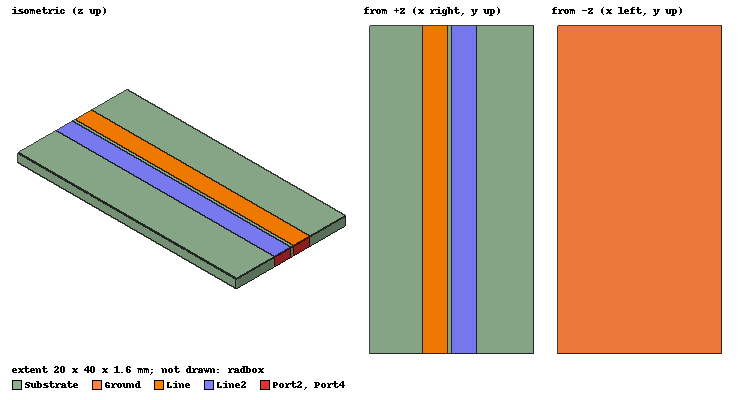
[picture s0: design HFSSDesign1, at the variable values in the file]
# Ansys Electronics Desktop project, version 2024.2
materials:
  vacuum: permittivity=1
  FR4_epoxy: permittivity=4.4 dielectric_loss_tangent=0.02
  air: permittivity=1.0006 permeability=1.0000004

design HFSSDesign1 (HFSS, HFSS Terminal Network, model units mm)
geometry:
  Ground = rectangle(corner=(0mm, 0mm, 0mm), x_size=20mm, y_size=40mm)
  Substrate [FR4_epoxy] = box(corner=(0mm, 0mm, 0mm), size=(20mm, 40mm, 1.6mm))
  Line = rectangle(corner=((10-3.5) mm, 0mm, 1.6mm), x_size=3mm, y_size=40mm)
  Port1 = rectangle(corner=(6.5mm, 0mm, 1.6mm), z_size=-1.6mm, x_size=3mm)
  Port2 = rectangle(corner=(9.5mm, 40mm, 1.6mm), z_size=-1.6mm, x_size=-3mm)
  radbox [air] = box(corner=(-10mm, -10mm, -20mm), size=(40mm, 60mm, 40mm))
  Line2 = rectangle(corner=(10mm, 0mm, 1.6mm), x_size=3mm, y_size=40mm)
  Port3 = rectangle(corner=(10mm, 0mm, 1.6mm), z_size=-1.6mm, x_size=3mm)
  Port4 = rectangle(corner=(13mm, 40mm, 1.6mm), z_size=-1.6mm, x_size=-3mm)
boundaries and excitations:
  PerfE1: Perfect E Objects=[Ground, Line]
  Rad1: Radiation Objects=radbox
  1: Lumped Port Objects=Port1 LumpedPortType=Modal Modes{Mode1{IntLine{(8, 0, 1.6) -> (8, 0, 0)} CharImp=Zpi RenormImp=50ohm}} Impedance=50ohm
  2: Lumped Port Objects=Port2 LumpedPortType=Modal Modes{Mode1{IntLine{(8, 40, 1.6) -> (8, 40, 0)} CharImp=Zpi RenormImp=50ohm}} Impedance=50ohm
  3: Lumped Port Objects=Port3 LumpedPortType=Modal Modes{Mode1{IntLine{(11.5, 0, 1.6) -> (11.5, 0, 0)} CharImp=Zpi RenormImp=50ohm}} Impedance=50ohm
  4: Lumped Port Objects=Port4 LumpedPortType=Modal Modes{Mode1{IntLine{(11.5, 40, 1.6) -> (11.5, 40, 0)} CharImp=Zpi RenormImp=50ohm}} Impedance=50ohm
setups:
  Setup1: HfssDriven Frequency=20GHz MaxDeltaS=0.02 MaximumPasses=6 MinimumPasses=1 MinimumConvergedPasses=1 PercentRefinement=30 BasisOrder=1 PortAccuracy=2 DrivenSolverType="Direct Solver"
    sweep Sweep: 1GHz to 20GHz, 401 points; Type=Fast SaveFields
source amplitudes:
  1:1: 1V 0deg
  2:1, 3:1, 4:1: 0V 0deg
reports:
  S Parameter Plot 1: dB(S(1,1)), dB(S(2,1)), dB(S(1,2)), dB(S(2,2)) vs Freq on Setup1 : Sweep
  Z Parameter Plot 1: dB20(Z(1,1)), dB20(Z(2,1)), dB20(Z(1,2)), dB20(Z(2,2)) vs Freq on Setup1 : Sweep
  S Parameter Plot 2: dB(S(1,1)) vs Freq on Setup1 : Sweep
  S Parameter Plot 3: dB(S(2,1)), dB(S(3,1)) vs Freq on Setup1 : Sweep
